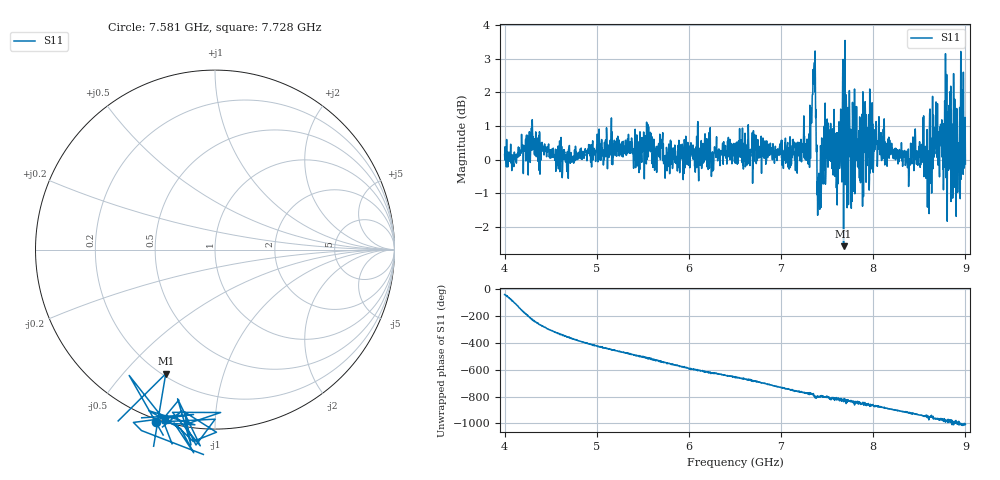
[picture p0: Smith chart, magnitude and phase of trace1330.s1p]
! Created with skrf 1.8.0 (http://scikit-rf.org).
# Hz S RI R 50.0
!freq ReS11 ImS11
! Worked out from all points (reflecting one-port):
!   1601 points, 4 GHz to 9 GHz, reference 50 ohm
!   lowest |S11| = -2.6 dB at 7.678 GHz (marker M1), VSWR 6.82, Z = 10.6 - j32.9 ohm
!   phase of S11 starts at -39 deg and turns -968 deg over the sweep
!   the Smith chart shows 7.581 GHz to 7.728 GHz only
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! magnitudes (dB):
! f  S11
! 4 GHz  0.2
! 4.312 GHz  0.3
! 4.625 GHz  -0.5
! 5.25 GHz  0.3
! 5.447 GHz  -0.1
! 5.566 GHz  0.4
! 5.875 GHz  -0.3
! 6.5 GHz  0.1
! 7.125 GHz  0.6
! 7.284 GHz  0.4
! 7.35 GHz  2.3
! 7.366 GHz  2.0
! 7.4 GHz  -0.5
! 7.412 GHz  -0.7
! 7.491 GHz  0.1
! 7.616 GHz  -0.7
! 7.669 GHz  2.7
! 7.678 GHz  -2.6
! 7.75 GHz  0.3
! 7.928 GHz  0.9
! 8.375 GHz  -0.1
! 8.544 GHz  0.4
! 8.581 GHz  -0.1
! 8.662 GHz  0.6
! 8.8 GHz  0.6
! 8.919 GHz  -0.3
! 8.972 GHz  0.3
! 9 GHz  -0.1
